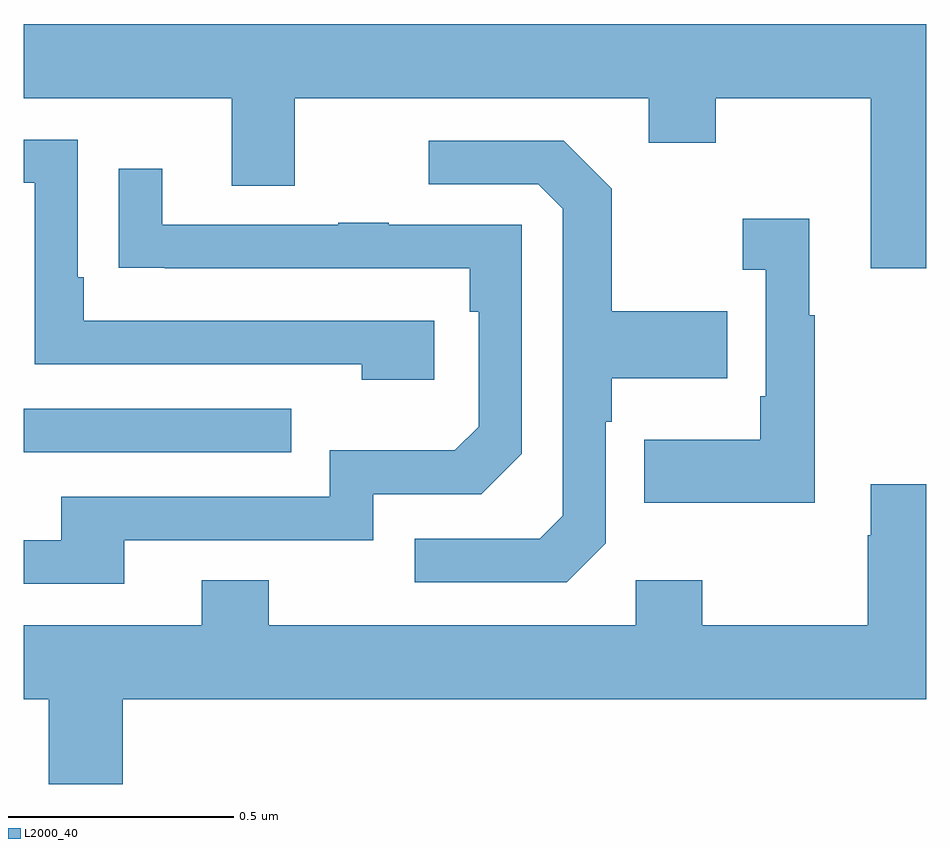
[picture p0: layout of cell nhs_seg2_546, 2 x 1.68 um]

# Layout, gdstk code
import gdstk
lib = gdstk.Library(unit=1e-6, precision=1e-09)
def R(c, l, rs):  # rectangles x0, y0, x1, y1
    for r in rs: c.add(gdstk.rectangle(r[:2], r[2:], *l))
def P(c, l, *ps):  # polygons
    for p in ps: c.add(gdstk.Polygon(p, *l))
L2000_40 = (2000, 40)

nhs_seg2_546 = lib.new_cell('nhs_seg2_546')
R(nhs_seg2_546, L2000_40, [(117,646.851,117.593,646.947)])
P(nhs_seg2_546, L2000_40, [(119,647.8),(117,647.8),(117,647.636),(117.461,647.636),(117.461,647.442),(117.601,647.442),(117.601,647.636),(118.385,647.636),(118.385,647.537),(118.533,647.537),(118.533,647.636),(118.877,647.636),(118.877,647.259),(119,647.259)],
  [(117.91,647.142),(117.133,647.142),(117.133,647.239),(117.12,647.239),(117.12,647.544),(117,647.544),(117,647.448),(117.024,647.448),(117.024,647.046),(117.749,647.046),(117.749,647.012),(117.91,647.012)],
  [(118.29,646.65),(118.29,646.919),(118.303,646.919),(118.303,647.015),(118.559,647.015),(118.559,647.163),(118.303,647.163),(118.303,647.435),(118.197,647.541),(117.897,647.541),(117.897,647.445),(118.14,647.445),(118.194,647.391),(118.194,646.71),(118.143,646.659),(117.867,646.659),(117.867,646.563),(118.203,646.563)],
  [(117.223,646.656),(117.774,646.656),(117.774,646.758),(118.014,646.758),(118.104,646.848),(118.104,647.355),(117.809,647.355),(117.809,647.36),(117.697,647.36),(117.697,647.355),(117.307,647.355),(117.307,647.479),(117.211,647.479),(117.211,647.26),(117.313,647.26),(117.313,647.259),(117.988,647.259),(117.988,647.162),(118.008,647.162),(118.008,646.908),(117.955,646.855),(117.678,646.855),(117.678,646.752),(117.083,646.752),(117.083,646.656),(117,646.656),(117,646.56),(117.223,646.56)],
  [(118.753,647.155),(118.741,647.155),(118.741,647.368),(118.593,647.368),(118.593,647.255),(118.644,647.255),(118.644,646.975),(118.632,646.975),(118.632,646.879),(118.375,646.879),(118.375,646.739),(118.753,646.739)],
  [(117.22,646.304),(119,646.304),(119,646.78),(118.877,646.78),(118.877,646.667),(118.87,646.667),(118.87,646.468),(118.503,646.468),(118.503,646.567),(118.356,646.567),(118.356,646.468),(117.543,646.468),(117.543,646.567),(117.395,646.567),(117.395,646.468),(117,646.468),(117,646.304),(117.056,646.304),(117.056,646.116),(117.22,646.116)])

lib.write_gds('nhs_seg2_546.gds')
